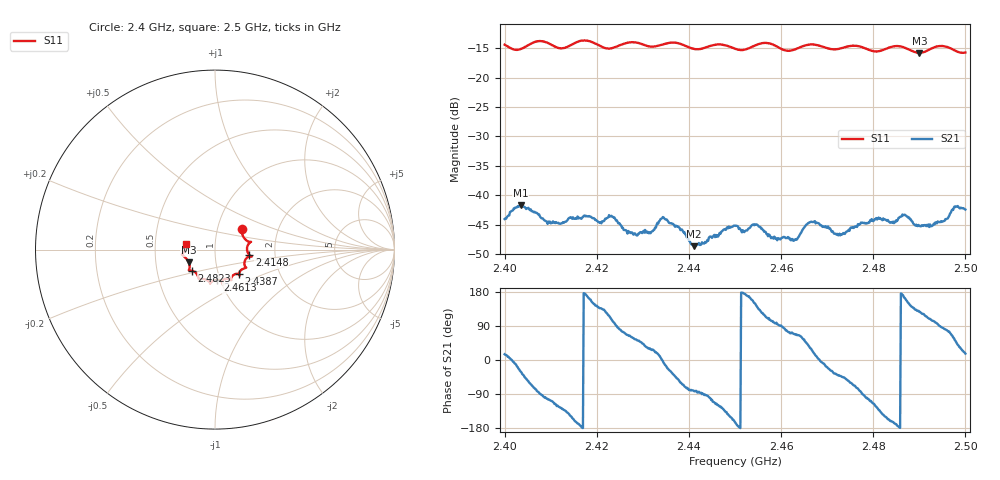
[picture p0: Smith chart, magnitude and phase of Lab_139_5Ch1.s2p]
# Hz S RI R 50
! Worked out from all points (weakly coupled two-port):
!   601 points, 2.4 GHz to 2.5 GHz, reference 50 ohm
!   highest |S21| = -41.71 dB at 2.4035 GHz (marker M1); lowest = -48.7 dB at 2.4412 GHz (marker M2)
!   lowest |S11| = -15.8 dB at 2.49 GHz (marker M3), VSWR 1.39, Z = 36.8 - j5.3 ohm
!   |S11| at or under -10 dB: start of sweep to end of sweep
!   S12 and S22 are empty: the file has one direction only
!   S11 on the Smith chart (normalised r, x): 2.4 GHz: 1.31, +0.32; 2.4148 GHz: 1.47, -0.10; 2.4387 GHz: 1.25, -0.36; 2.4613 GHz: 0.97, -0.34; 2.4823 GHz: 0.75, -0.18; 2.5 GHz: 0.72, +0.04
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2.4e9  0.1517 0.1169  0.00605 0.00163  0 0  0 0
2.4035e9  0.1648 0.0616  0.00706 -0.00421  0 0  0 0
2.409667e9  0.192 0.0374  -0.00149 -0.00564  0 0  0 0
2.414833e9  0.1914 -0.0316  -0.00585 -0.00277  0 0  0 0
2.416667e9  0.2034 -0.0398  -0.00628 -0.000376  0 0  0 0
2.423167e9  0.164 -0.0698  -0.00203 0.00636  0 0  0 0
2.428333e9  0.173 -0.101  0.00273 0.00384  0 0  0 0
2.433333e9  0.1357 -0.1297  0.00552 0.0015  0 0  0 0
2.438667e9  0.1329 -0.1375  0.00209 -0.00448  0 0  0 0
2.441167e9  0.11 -0.1374  0.000485 -0.00365  0 0  0 0
2.45e9  0.0727 -0.1615  -0.0053 -0.00151  0 0  0 0
2.456667e9  0.044 -0.1935  -0.00198 0.00443  0 0  0 0
2.461333e9  0.0136 -0.1695  0.00104 0.00418  0 0  0 0
2.463167e9  -0.012 -0.175  0.00157 0.00391  0 0  0 0
2.466667e9  -0.0271 -0.1905  0.00529 0.00265  0 0  0 0
2.472833e9  -0.0694 -0.1636  0.00337 -0.00305  0 0  0 0
2.482333e9  -0.1279 -0.1178  -0.00518 -0.00342  0 0  0 0
2.483333e9  -0.1376 -0.1165  -0.00547 -0.00239  0 0  0 0
2.486833e9  -0.1434 -0.1097  -0.00656 0.0019  0 0  0 0
2.49e9  -0.1473 -0.07  -0.00329 0.00437  0 0  0 0
2.494667e9  -0.1845 -0.0281  0.000247 0.00599  0 0  0 0
2.5e9  -0.1616 0.0297  0.00722 0.00219  0 0  0 0
